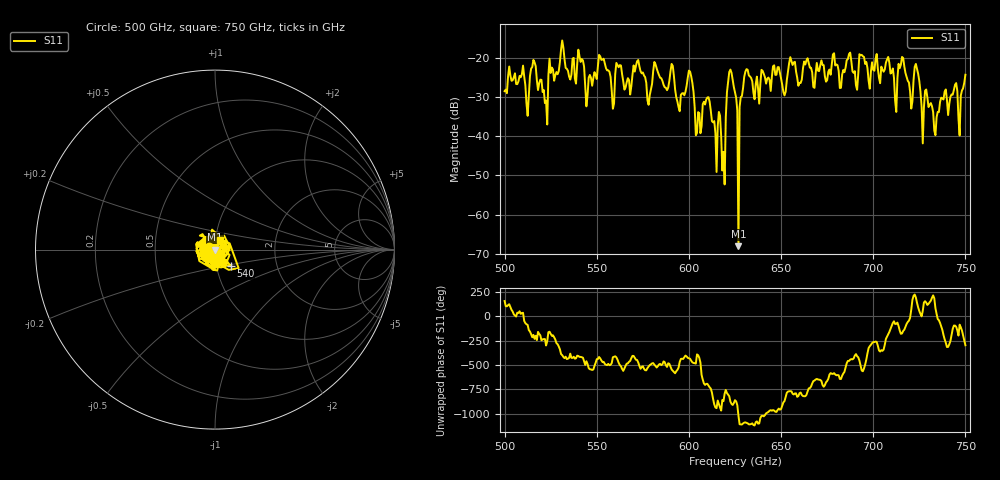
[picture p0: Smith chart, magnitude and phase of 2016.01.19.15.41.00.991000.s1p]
!Created with skrf (http://scikit-rf.org).
# GHz S RI R 50.0
!freq ReS11 ImS11
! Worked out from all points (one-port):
!   401 points, 500 GHz to 750 GHz, reference 50 ohm
!   lowest |S11| = -68.1 dB at 626.9 GHz (marker M1), VSWR 1.00, Z = 50 + j0.0339 ohm
!   |S11| at or under -10 dB: start of sweep to end of sweep
!   S11 on the Smith chart (normalised r, x): 500 GHz: 0.93, +0.03; 540 GHz: 1.17, -0.22; 750 GHz: 1.05, +0.12
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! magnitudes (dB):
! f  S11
! 500 GHz  -28.5
! 512.5 GHz  -34.8
! 515.6 GHz  -20.5
! 521.9 GHz  -31.5
! 531.2 GHz  -15.5
! 540 GHz  -17.9
! 545 GHz  -29.5
! 552.5 GHz  -20.5
! 562.5 GHz  -21.8
! 578.8 GHz  -29.5
! 590.6 GHz  -21.5
! 593.8 GHz  -31.1
! 600.6 GHz  -23.5
! 605 GHz  -33.8
! 610 GHz  -30.1
! 618.8 GHz  -44.0
! 621.9 GHz  -23.6
! 625 GHz  -28.7
! 626.9 GHz  -68.1
! 631.2 GHz  -22.9
! 651.9 GHz  -29.6
! 656.2 GHz  -21.8
! 687.5 GHz  -18.6
! 718.8 GHz  -25.8
! 723.8 GHz  -22.8
! 726.2 GHz  -32.4
! 734.4 GHz  -35.1
! 750 GHz  -24.3
